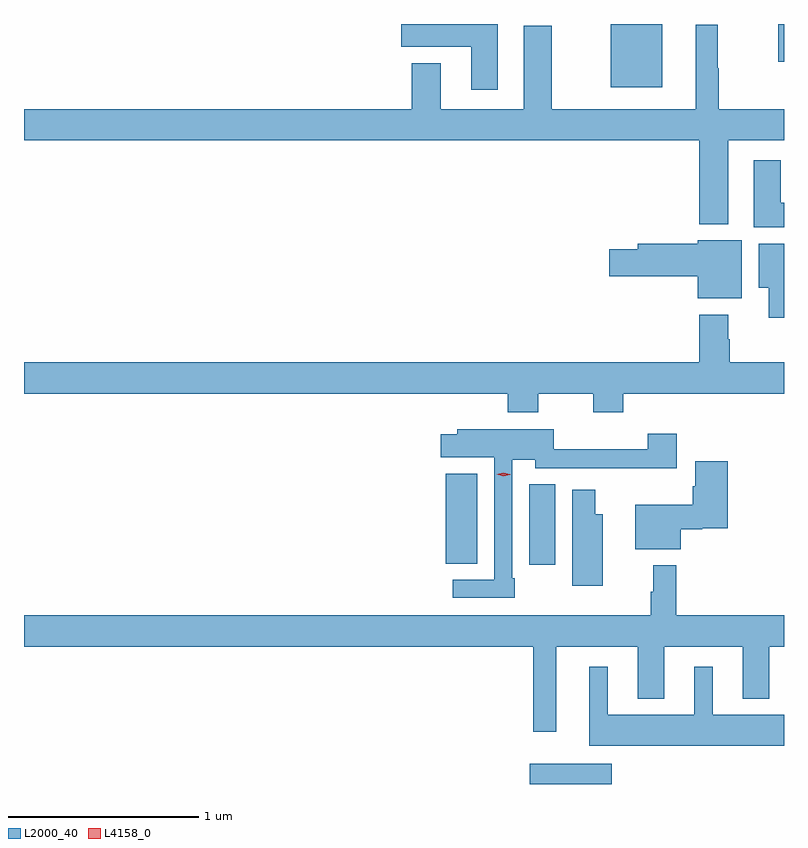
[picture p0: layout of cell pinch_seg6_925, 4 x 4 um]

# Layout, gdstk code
import gdstk
lib = gdstk.Library(unit=1e-6, precision=1e-09)
def R(c, l, rs):  # rectangles x0, y0, x1, y1
    for r in rs: c.add(gdstk.rectangle(r[:2], r[2:], *l))
def P(c, l, *ps):  # polygons
    for p in ps: c.add(gdstk.Polygon(p, *l))
L2000_40 = (2000, 40)
L4158_0 = (4158, 0)

pinch_seg6_925 = lib.new_cell('pinch_seg6_925')
R(pinch_seg6_925, L2000_40, [(256.16,945.281,256.591,945.388), (256.157,946.434,256.294,946.859), (255.716,946.441,255.883,946.915), (256.586,948.947,256.855,949.281), (257.467,949.083,257.497,949.281)])
P(pinch_seg6_925, L2000_40, [(255.991,949.281),(255.482,949.281),(255.482,949.16),(255.851,949.16),(255.851,948.936),(255.991,948.936)],
  [(257.051,948.227),(257.203,948.227),(257.203,948.668),(257.497,948.668),(257.497,948.832),(257.154,948.832),(257.154,949.049),(257.147,949.049),(257.147,949.276),(257.033,949.276),(257.033,948.832),(256.275,948.832),(256.275,949.273),(256.127,949.273),(256.127,948.832),(255.691,948.832),(255.691,949.075),(255.539,949.075),(255.539,948.832),(253.497,948.832),(253.497,948.668),(257.051,948.668)],
  [(257.497,948.34),(257.479,948.34),(257.479,948.565),(257.339,948.565),(257.339,948.212),(257.497,948.212)],
  [(257.275,948.142),(257.042,948.142),(257.042,948.125),(256.727,948.125),(256.727,948.095),(256.578,948.095),(256.578,947.953),(257.042,947.953),(257.042,947.837),(257.275,947.837)],
  [(257.497,948.124),(257.363,948.124),(257.363,947.894),(257.417,947.894),(257.417,947.736),(257.497,947.736)],
  [(256.203,947.336),(256.492,947.336),(256.492,947.237),(256.652,947.237),(256.652,947.336),(257.497,947.336),(257.497,947.5),(257.211,947.5),(257.211,947.621),(257.203,947.621),(257.203,947.752),(257.051,947.752),(257.051,947.5),(253.497,947.5),(253.497,947.336),(256.043,947.336),(256.043,947.237),(256.203,947.237)],
  [(256.081,946.363),(256.068,946.363),(256.068,946.988),(256.188,946.988),(256.188,946.944),(256.697,946.944),(256.697,946.943),(256.933,946.943),(256.933,947.125),(256.781,947.125),(256.781,947.042),(256.284,947.042),(256.284,947.149),(255.777,947.149),(255.777,947.122),(255.69,947.122),(255.69,947),(255.972,947),(255.972,946.356),(255.753,946.356),(255.753,946.26),(256.081,946.26)],
  [(256.954,946.621),(257.067,946.621),(257.067,946.628),(257.201,946.628),(257.201,946.981),(257.03,946.981),(257.03,946.847),(257.017,946.847),(257.017,946.75),(256.715,946.75),(256.715,946.517),(256.954,946.517)],
  [(256.543,946.702),(256.504,946.702),(256.504,946.831),(256.382,946.831),(256.382,946.325),(256.543,946.325)],
  [(256.297,946.004),(256.727,946.004),(256.727,945.731),(256.867,945.731),(256.867,946.004),(257.279,946.004),(257.279,945.731),(257.419,945.731),(257.419,946.004),(257.497,946.004),(257.497,946.168),(256.931,946.168),(256.931,946.432),(256.81,946.432),(256.81,946.292),(256.795,946.292),(256.795,946.168),(253.497,946.168),(253.497,946.004),(256.176,946.004),(256.176,945.555),(256.297,945.555)],
  [(257.497,945.646),(257.122,945.646),(257.122,945.898),(257.024,945.898),(257.024,945.646),(256.57,945.646),(256.57,945.898),(256.472,945.898),(256.472,945.482),(257.497,945.482)])
P(pinch_seg6_925, L4158_0, [(256.02,946.9),(255.985,946.91),(255.985,946.91),(255.985,946.91),(256.02,946.92),(256.055,946.91),(256.055,946.909),(256.055,946.909)])

lib.write_gds('pinch_seg6_925.gds')
